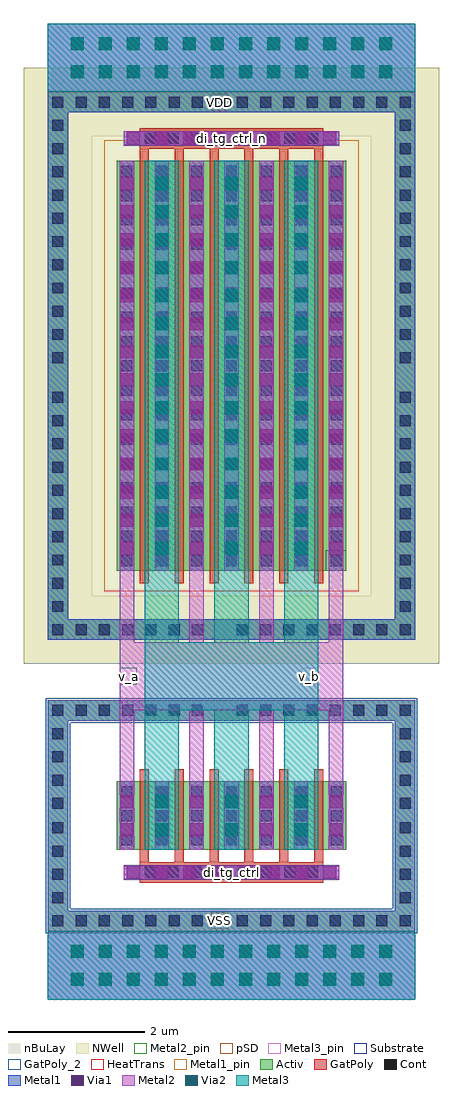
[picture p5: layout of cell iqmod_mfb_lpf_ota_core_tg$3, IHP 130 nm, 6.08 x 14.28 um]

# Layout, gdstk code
from math import pi, radians
import gdstk
lib = gdstk.Library(unit=1e-6, precision=1e-09)
def R(c, l, rs):  # rectangles x0, y0, x1, y1
    for r in rs: c.add(gdstk.rectangle(r[:2], r[2:], *l))
def A(c, l, x, y, w, h, nx, ny, dx, dy):  # array of equal rectangles
    R(c, l, [(x+i*dx, y+j*dy, x+i*dx+w, y+j*dy+h) for i in range(nx) for j in range(ny)])
def P(c, l, *ps):  # polygons
    for p in ps: c.add(gdstk.Polygon(p, *l))
Activ = (1, 0)
GatPoly = (5, 0)
GatPoly_2 = (5, 2)
Cont = (6, 0)
Metal1 = (8, 0)
Metal1_pin = (8, 2)
Metal2 = (10, 0)
Metal2_pin = (10, 2)
pSD = (14, 0)
Via1 = (19, 0)
Via2 = (29, 0)
Metal3 = (30, 0)
Metal3_pin = (30, 2)
NWell = (31, 0)
nBuLay = (32, 0)
Substrate = (40, 0)
HeatTrans = (51, 0)

pmos_76 = lib.new_cell('pmos$76')
A(pmos_76, Activ, 0, 0, 0.3, 0.3, 7, 1, 0.51, 0)
R(pmos_76, Activ, [(-1.01,-0.71,-0.71,6.71), (4.07,-0.71,4.37,6.71), (0,0,3.36,6), (-1.01,6.71,4.37,7.01)])
P(pmos_76, Activ, [(-1.01,-1.01),(-1.01,6.71),(-0.71,6.71),(-0.71,-0.71),(4.07,-0.71),(4.07,6.71),(-1.01,6.71),(-1.01,7.01),(4.37,7.01),(4.37,-1.01)])
A(pmos_76, GatPoly, 0.34, -0.18, 0.13, 6.36, 6, 1, 0.51, 0)
R(pmos_76, GatPoly, [(0.34,-0.18,0.47,6.18)])
A(pmos_76, Cont, -0.94, -0.94, 0.16, 0.16, 7, 2, 0.34, 7.72)
A(pmos_76, Cont, 1.76, -0.94, 0.16, 0.16, 8, 2, 0.34, 7.72)
A(pmos_76, Cont, -0.94, -0.6, 0.16, 0.16, 1, 10, 0, 0.34)
A(pmos_76, Cont, 4.14, -0.6, 0.16, 0.16, 1, 10, 0, 0.34)
A(pmos_76, Cont, 0.07, 0.07, 0.16, 0.16, 7, 4, 0.51, 0.355)
A(pmos_76, Cont, 0.07, 1.495, 0.16, 0.16, 7, 4, 0.51, 0.355)
A(pmos_76, Cont, 0.07, 2.92, 0.16, 0.16, 7, 4, 0.51, 0.355)
A(pmos_76, Cont, -0.94, 3.04, 0.16, 0.16, 1, 11, 0, 0.34)
A(pmos_76, Cont, 4.14, 3.04, 0.16, 0.16, 1, 11, 0, 0.34)
A(pmos_76, Cont, 0.07, 4.345, 0.16, 0.16, 7, 4, 0.51, 0.355)
A(pmos_76, Cont, 0.07, 5.77, 0.16, 0.16, 7, 1, 0.51, 0)
A(pmos_76, Metal1, 0.58, 0, 0.16, 6, 6, 1, 0.51, 0)
R(pmos_76, Metal1, [(-1.01,-1.01,4.37,-0.71), (-1.01,-0.71,-0.71,6.71), (4.07,-0.71,4.37,6.71), (0.07,0,0.23,6), (0.07,0,0.23,6), (0.58,0,0.74,6), (-1.01,6.71,4.37,7.01)])
R(pmos_76, pSD, [(-0.18,-0.3,3.54,6.3)])
R(pmos_76, NWell, [(-1.36,-1.36,4.72,7.36), (-0.31,-0.31,3.67,6.31)])
R(pmos_76, nBuLay, [(-1.36,-0.36,-0.36,6.36), (3.72,-0.36,4.72,6.36), (-1.36,6.36,4.72,7.36)])
P(pmos_76, nBuLay, [(-1.36,-1.36),(-1.36,6.36),(-0.36,6.36),(-0.36,-0.36),(3.72,-0.36),(3.72,6.36),(-1.36,6.36),(-1.36,7.36),(4.72,7.36),(4.72,-1.36)])
R(pmos_76, Substrate, [(3.06,0,3.36,0.3)])
A(pmos_76, HeatTrans, 0.34, -0.18, 0.13, 6.36, 6, 1, 0.51, 0)
pmos_76.add(gdstk.Label('pmos', (0.405,3), layer=63, texttype=0))
pmos_76.add(gdstk.Label('well', (1.68,-0.86), layer=63, texttype=0))
pmos_76.add(gdstk.Label('pmos', (0.405,3), layer=51, texttype=0))
pmos_76.add(gdstk.Label('pmos', (0.915,3), layer=51, texttype=0))
pmos_76.add(gdstk.Label('pmos', (1.425,3), layer=51, texttype=0))
pmos_76.add(gdstk.Label('pmos', (1.935,3), layer=51, texttype=0))
pmos_76.add(gdstk.Label('pmos', (2.445,3), layer=51, texttype=0))
pmos_76.add(gdstk.Label('pmos', (2.955,3), layer=51, texttype=0))

nmos_76 = lib.new_cell('nmos$76')
A(nmos_76, Activ, 0, 0, 0.3, 0.3, 7, 1, 0.51, 0)
R(nmos_76, Activ, [(-1.01,-0.89,-0.71,1.89), (4.07,-0.89,4.37,1.89), (0,0,3.36,1), (-1.01,1.89,4.37,2.19)])
P(nmos_76, Activ, [(-1.01,-1.19),(-1.01,1.89),(-0.71,1.89),(-0.71,-0.89),(4.07,-0.89),(4.07,1.89),(-1.01,1.89),(-1.01,2.19),(4.37,2.19),(4.37,-1.19)])
A(nmos_76, GatPoly, 0.34, -0.18, 0.13, 1.36, 6, 1, 0.51, 0)
R(nmos_76, GatPoly_2, [(0.34,-0.18,0.47,1.18)])
A(nmos_76, Cont, -0.94, -1.12, 0.16, 0.16, 7, 2, 0.34, 3.08)
A(nmos_76, Cont, 1.76, -1.12, 0.16, 0.16, 8, 2, 0.34, 3.08)
A(nmos_76, Cont, -0.94, -0.78, 0.16, 0.16, 1, 4, 0, 0.34)
A(nmos_76, Cont, 4.14, -0.78, 0.16, 0.16, 1, 4, 0, 0.34)
A(nmos_76, Cont, 0.07, 0.07, 0.16, 0.16, 7, 3, 0.51, 0.35)
A(nmos_76, Cont, -0.94, 0.6, 0.16, 0.16, 1, 4, 0, 0.34)
A(nmos_76, Cont, 4.14, 0.6, 0.16, 0.16, 1, 4, 0, 0.34)
A(nmos_76, Metal1, 0.07, 0, 0.16, 1, 7, 1, 0.51, 0)
R(nmos_76, Metal1, [(-1.01,-1.19,4.37,-0.89), (-1.01,-0.89,-0.71,1.89), (4.07,-0.89,4.37,1.89), (-1.01,1.89,4.37,2.19)])
R(nmos_76, Metal1_pin, [(0.07,0,0.23,1), (0.58,0,0.74,1)])
R(nmos_76, pSD, [(-1.04,-0.86,-0.68,1.86), (4.04,-0.86,4.4,1.86), (-1.04,1.86,4.4,2.22)])
P(nmos_76, pSD, [(-1.04,-1.22),(-1.04,1.86),(-0.68,1.86),(-0.68,-0.86),(4.04,-0.86),(4.04,1.86),(-1.04,1.86),(-1.04,2.22),(4.4,2.22),(4.4,-1.22)])
R(nmos_76, Substrate, [(-1.04,-0.86,-0.68,1.86), (4.04,-0.86,4.4,1.86), (-1.04,1.86,4.4,2.22)])
P(nmos_76, Substrate, [(-1.04,-1.22),(-1.04,1.86),(-0.68,1.86),(-0.68,-0.86),(4.04,-0.86),(4.04,1.86),(-1.04,1.86),(-1.04,2.22),(4.4,2.22),(4.4,-1.22)])
A(nmos_76, HeatTrans, 0.34, -0.18, 0.13, 1.36, 6, 1, 0.51, 0)
nmos_76.add(gdstk.Label('nmos', (0.405,0.5), layer=63, texttype=0))
nmos_76.add(gdstk.Label('sub!', (1.68,-1.04), layer=63, texttype=0))
nmos_76.add(gdstk.Label('nmos', (0.405,0.5), layer=51, texttype=0))
nmos_76.add(gdstk.Label('nmos', (0.915,0.5), layer=51, texttype=0))
nmos_76.add(gdstk.Label('nmos', (1.425,0.5), layer=51, texttype=0))
nmos_76.add(gdstk.Label('nmos', (1.935,0.5), layer=51, texttype=0))
nmos_76.add(gdstk.Label('nmos', (2.445,0.5), layer=51, texttype=0))
nmos_76.add(gdstk.Label('nmos', (2.955,0.5), layer=51, texttype=0))

via_stack_698 = lib.new_cell('via_stack$698')
R(via_stack_698, Metal1, [(-0.105,-0.35,0.105,0.35)])
R(via_stack_698, Metal2, [(-0.1,-0.35,0.1,0.35)])
R(via_stack_698, Via1, [(-0.095,-0.3,0.095,-0.11), (-0.095,0.11,0.095,0.3)])

via_stack_699 = lib.new_cell('via_stack$699')
R(via_stack_699, GatPoly, [(-1.34,-0.15,1.34,0.15)])
A(via_stack_699, Cont, -1.27, -0.08, 0.16, 0.16, 8, 1, 0.34, 0)
R(via_stack_699, Metal1, [(-1.58,-0.105,1.58,0.105)])
R(via_stack_699, Metal2, [(-1.58,-0.1,1.58,0.1)])
A(via_stack_699, Via1, -1.53, -0.095, 0.19, 0.19, 8, 1, 0.41, 0)

via_stack_700 = lib.new_cell('via_stack$700')
R(via_stack_700, Metal1, [(-0.105,-0.35,0.105,0.35)])
R(via_stack_700, Metal2, [(-0.1,-0.35,0.1,0.35)])
R(via_stack_700, Via1, [(-0.095,-0.3,0.095,-0.11), (-0.095,0.11,0.095,0.3)])
R(via_stack_700, Via2, [(-0.095,-0.3,0.095,-0.11), (-0.095,0.11,0.095,0.3)])
R(via_stack_700, Metal3, [(-0.1,-0.35,0.1,0.35)])

via_stack_701 = lib.new_cell('via_stack$701')
R(via_stack_701, Metal1, [(-2.4,-0.31,2.4,0.31)])
R(via_stack_701, Metal2, [(-2.4,-0.305,2.4,0.305)])
A(via_stack_701, Via1, -2.35, -0.3, 0.19, 0.19, 12, 2, 0.41, 0.41)
A(via_stack_701, Via2, -2.35, -0.3, 0.19, 0.19, 12, 2, 0.41, 0.41)
R(via_stack_701, Metal3, [(-2.4,-0.305,2.4,0.305)])

via_stack_702 = lib.new_cell('via_stack$702')
R(via_stack_702, Metal1, [(-0.105,-2.81,0.105,2.81)])
R(via_stack_702, Metal2, [(-0.1,-2.81,0.1,2.81)])
A(via_stack_702, Via1, -0.095, -2.76, 0.19, 0.19, 1, 14, 0, 0.41)
A(via_stack_702, Via2, -0.095, -2.76, 0.19, 0.19, 1, 14, 0, 0.41)
R(via_stack_702, Metal3, [(-0.1,-2.81,0.1,2.81)])

via_stack_703 = lib.new_cell('via_stack$703')
R(via_stack_703, Metal1, [(-0.105,-2.81,0.105,2.81)])
R(via_stack_703, Metal2, [(-0.1,-2.81,0.1,2.81)])
A(via_stack_703, Via1, -0.095, -2.76, 0.19, 0.19, 1, 14, 0, 0.41)

iqmod_mfb_lpf_ota_core_t = lib.new_cell('iqmod_mfb_lpf_ota_core_tg$3')
A(iqmod_mfb_lpf_ota_core_t, Metal1, 2.425, 2.19, 0.21, 1, 3, 1, 0.51, 0)
A(iqmod_mfb_lpf_ota_core_t, Metal1, 3.445, 2.19, 0.21, 1, 3, 1, 0.51, 0)
A(iqmod_mfb_lpf_ota_core_t, Metal1, 1.405, 6.27, 0.21, 6, 7, 1, 0.51, 0)
R(iqmod_mfb_lpf_ota_core_t, Metal1, [(0.35,0,5.73,1), (2.62,1,3.12,1.3), (1.405,2.19,1.615,3.19), (1.405,2.19,1.615,3.19), (1.915,2.19,2.125,3.19), (1.915,2.19,2.125,3.19), (2.425,2.19,2.635,3.19), (4.465,2.19,4.675,3.19), (2.62,12.98,3.12,13.28), (0.35,13.28,5.73,14.28)])
R(iqmod_mfb_lpf_ota_core_t, Metal1_pin, [(2.745,1.025,2.995,1.275), (2.745,13.005,2.995,13.255)])
A(iqmod_mfb_lpf_ota_core_t, Metal2, 1.405, 2.19, 0.21, 1, 7, 1, 0.51, 0)
A(iqmod_mfb_lpf_ota_core_t, Metal2, 1.405, 3.19, 0.21, 3.08, 4, 1, 1.02, 0)
A(iqmod_mfb_lpf_ota_core_t, Metal2, 1.405, 6.27, 0.21, 6, 7, 1, 0.51, 0)
R(iqmod_mfb_lpf_ota_core_t, Metal2, [(0.35,0,5.73,1), (2.93,1.76,3.15,1.96), (1.405,4.23,3.655,5.23), (1.405,4.23,4.675,5.23), (2.93,12.5,3.15,12.7), (0.35,13.28,5.73,14.28)])
R(iqmod_mfb_lpf_ota_core_t, Metal2_pin, [(2.965,1.785,3.115,1.935), (1.405,4.605,1.655,4.855), (2.965,12.525,3.115,12.675)])
A(iqmod_mfb_lpf_ota_core_t, Metal3, 1.77, 2.19, 0.5, 10.08, 3, 1, 1.02, 0)
A(iqmod_mfb_lpf_ota_core_t, Metal3, 1.915, 2.19, 0.21, 1, 3, 1, 1.02, 0)
A(iqmod_mfb_lpf_ota_core_t, Metal3, 1.915, 6.27, 0.21, 6, 3, 1, 1.02, 0)
R(iqmod_mfb_lpf_ota_core_t, Metal3, [(0.35,0,5.73,1), (1.77,4.23,4.31,5.23), (0.35,13.28,5.73,14.28)])
R(iqmod_mfb_lpf_ota_core_t, Metal3_pin, [(4.06,4.605,4.31,4.855)])
iqmod_mfb_lpf_ota_core_t.add(gdstk.Reference(pmos_76, (1.36,6.27)))
iqmod_mfb_lpf_ota_core_t.add(gdstk.Reference(nmos_76, (1.36,2.19)))
iqmod_mfb_lpf_ota_core_t.add(gdstk.Reference(via_stack_698, (1.51,2.69)))
iqmod_mfb_lpf_ota_core_t.add(gdstk.Reference(via_stack_699, (3.04,1.86)))
iqmod_mfb_lpf_ota_core_t.add(gdstk.Reference(via_stack_700, (2.02,2.69)))
iqmod_mfb_lpf_ota_core_t.add(gdstk.Reference(via_stack_700, (3.04,2.69)))
iqmod_mfb_lpf_ota_core_t.add(gdstk.Reference(via_stack_700, (4.06,2.69)))
iqmod_mfb_lpf_ota_core_t.add(gdstk.Reference(via_stack_698, (2.53,2.69)))
iqmod_mfb_lpf_ota_core_t.add(gdstk.Reference(via_stack_698, (3.55,2.69)))
iqmod_mfb_lpf_ota_core_t.add(gdstk.Reference(via_stack_698, (4.57,2.69)))
iqmod_mfb_lpf_ota_core_t.add(gdstk.Reference(via_stack_701, (3.04,13.78)))
iqmod_mfb_lpf_ota_core_t.add(gdstk.Reference(via_stack_701, (3.04,0.5)))
iqmod_mfb_lpf_ota_core_t.add(gdstk.Reference(via_stack_699, (3.04,12.6)))
iqmod_mfb_lpf_ota_core_t.add(gdstk.Reference(via_stack_702, (4.06,9.27)))
iqmod_mfb_lpf_ota_core_t.add(gdstk.Reference(via_stack_703, (1.51,9.27)))
iqmod_mfb_lpf_ota_core_t.add(gdstk.Reference(via_stack_703, (3.55,9.27), rotation=pi, x_reflection=True))
iqmod_mfb_lpf_ota_core_t.add(gdstk.Reference(via_stack_703, (2.53,9.27)))
iqmod_mfb_lpf_ota_core_t.add(gdstk.Reference(via_stack_703, (4.57,9.27), rotation=pi, x_reflection=True))
iqmod_mfb_lpf_ota_core_t.add(gdstk.Reference(via_stack_702, (3.04,9.27)))
iqmod_mfb_lpf_ota_core_t.add(gdstk.Reference(via_stack_702, (2.02,9.27)))
iqmod_mfb_lpf_ota_core_t.add(gdstk.Label('di_tg_ctrl_n', (3.04,12.6), layer=10, texttype=25))
iqmod_mfb_lpf_ota_core_t.add(gdstk.Label('v_a', (1.53,4.73), layer=10, texttype=25))
iqmod_mfb_lpf_ota_core_t.add(gdstk.Label('di_tg_ctrl', (3.04,1.86), layer=10, texttype=25))
iqmod_mfb_lpf_ota_core_t.add(gdstk.Label('VDD', (2.87,13.13), layer=8, texttype=25))
iqmod_mfb_lpf_ota_core_t.add(gdstk.Label('VSS', (2.87,1.15), layer=8, texttype=25))
iqmod_mfb_lpf_ota_core_t.add(gdstk.Label('v_b', (4.185,4.73), layer=30, texttype=25))

lib.write_gds('iqmod_mfb_lpf_ota_core_tg_3.gds')
